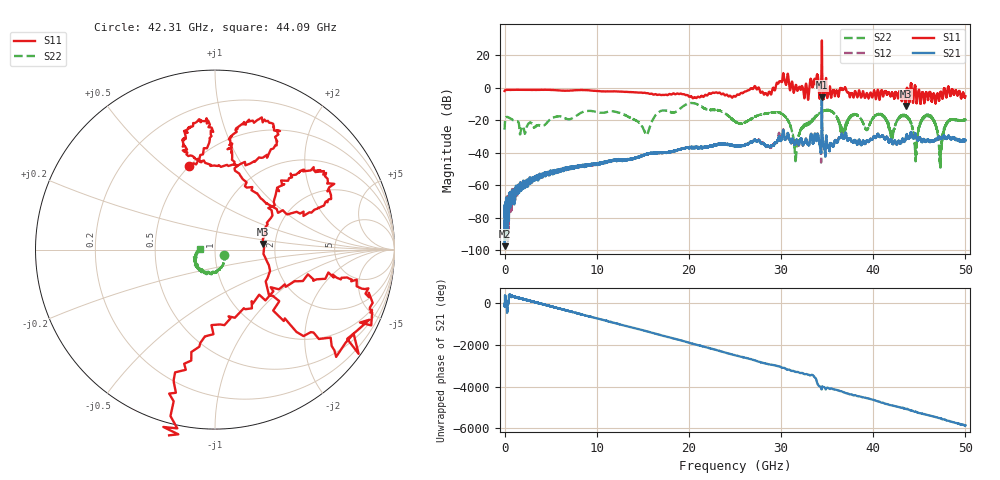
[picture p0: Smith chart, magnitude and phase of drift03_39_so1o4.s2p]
!Created with skrf (http://scikit-rf.org).
# Hz S RI R 50.0
!freq ReS11 ImS11 ReS21 ImS21 ReS12 ImS12 ReS22 ImS22
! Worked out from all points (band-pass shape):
!   10000 points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, 5.3 MHz to 50 GHz, reference 50 ohm
!   highest |S21| = -6.04 dB at 34.43 GHz (marker M1); lowest = -97.4 dB at 30.3 MHz (marker M2)
!   |S21| within 3 dB of the highest: 34.42766 GHz to 34.43435 GHz (6.69 MHz wide, 0.0194 % of centre)
!   lowest |S11| = -11.4 dB at 43.52 GHz (marker M3), VSWR 1.74, Z = 86.5 + j5.76 ohm
!   |S11| at or under -10 dB: 43.49245 GHz to 43.54122 GHz (48.77 MHz wide, 0.112 % of centre)
!   |S22| runs from -49.2 to -9.4 dB; largest |S21 - S12| = 0.15
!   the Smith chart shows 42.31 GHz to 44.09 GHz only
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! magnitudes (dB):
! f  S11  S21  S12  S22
! 5.3 MHz  -2.1  -76.6  -74.4  -25.8
! 30.3 MHz  -1.8  -97.4  -93.1  -22.5
! 2.22 GHz  -1.3  -58.1  -60.5  -28.2
! 8.34 GHz  -1.5  -47.6  -48.1  -15.3
! 15.39 GHz  -3.5  -41.0  -40.8  -28.8
! 16.67 GHz  -4.4  -40.0  -40.0  -15.3
! 20.45 GHz  -6.5  -37.0  -36.4  -9.5
! 25.01 GHz  -5.5  -35.6  -36.0  -20.8
! 29.96 GHz  3.9  -32.5  -32.1  -15.7
! 31.59 GHz  1.4  -33.8  -33.9  -44.6
! 33.34 GHz  2.5  -30.3  -30.4  -20.3
! 34.43 GHz  28.9  -6.0  -8.0  -14.6
! 36.69 GHz  -1.3  -30.0  -29.9  -29.8
! 37.94 GHz  -4.5  -33.0  -32.8  -16.9
! 41.67 GHz  -3.1  -33.3  -33.3  -23.0
! 43.52 GHz  -11.4  -31.6  -31.5  -17.9
! 44.61 GHz  -1.3  -29.0  -29.0  -42.6
! 45.27 GHz  -4.2  -33.1  -33.1  -19.8
! 46.24 GHz  -4.2  -33.1  -32.8  -18.0
! 47.29 GHz  -3.1  -30.5  -30.8  -49.2
! 48.12 GHz  0.3  -30.6  -30.3  -20.6
! 50 GHz  -5.3  -32.5  -32.8  -19.8
